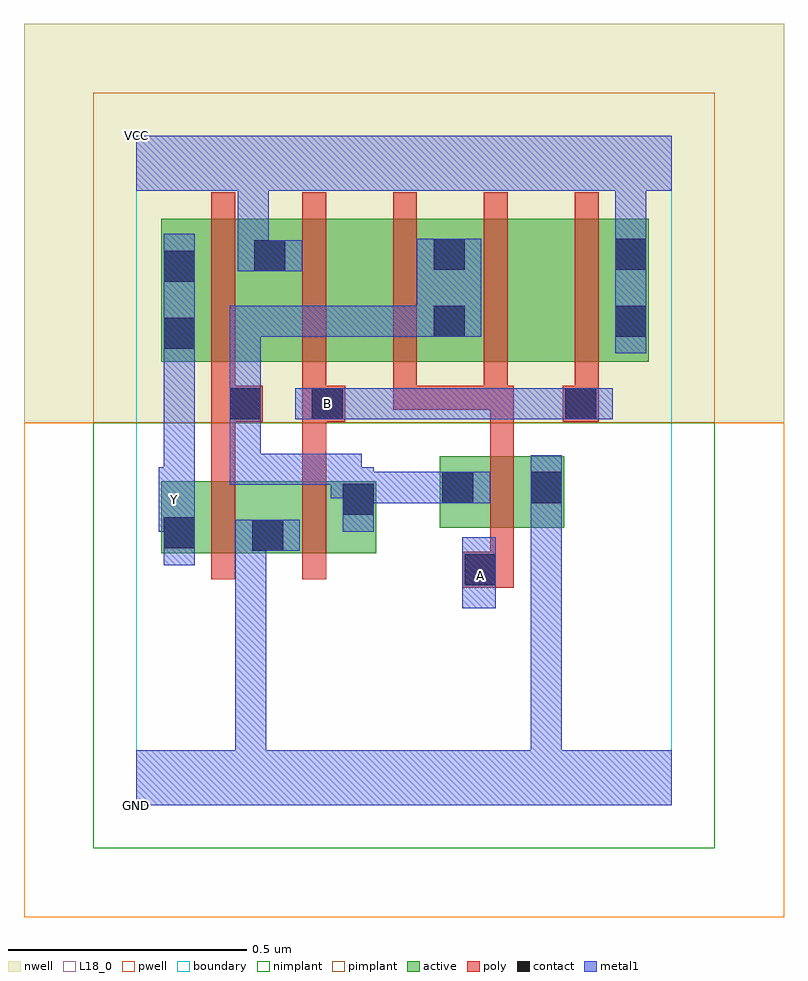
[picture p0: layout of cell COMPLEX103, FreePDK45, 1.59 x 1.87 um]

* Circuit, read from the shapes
.subckt COMPLEX103 A B GND VCC Y
M1 GND n1 Y VSUBS nfet w=0.15u l=0.05u
M2 n1 B GND VSUBS nfet w=0.15u l=0.05u
M3 GND A n1 VSUBS nfet w=0.15u l=0.05u
M4 VCC n1 Y n2 pfet w=0.3u l=0.05u
M5 n3 B VCC n2 pfet w=0.3u l=0.05u
M6 n1 A n3 n2 pfet w=0.3u l=0.05u
M7 n4 A n1 n2 pfet w=0.3u l=0.05u
M8 VCC B n4 n2 pfet w=0.3u l=0.05u
.ends

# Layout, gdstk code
import gdstk
lib = gdstk.Library(unit=1e-6, precision=1e-09)
def R(c, l, rs):  # rectangles x0, y0, x1, y1
    for r in rs: c.add(gdstk.rectangle(r[:2], r[2:], *l))
def A(c, l, x, y, w, h, nx, ny, dx, dy):  # array of equal rectangles
    R(c, l, [(x+i*dx, y+j*dy, x+i*dx+w, y+j*dy+h) for i in range(nx) for j in range(ny)])
active = (1, 0)
pwell = (2, 0)
nwell = (3, 0)
nimplant = (4, 0)
pimplant = (5, 0)
poly = (9, 0)
contact = (10, 0)
metal1 = (11, 0)
L18_0 = (18, 0)
boundary = (235, 0)

complex103 = lib.new_cell('COMPLEX103')
R(complex103, active, [(0.052,0.527,0.127,0.677), (0.052,0.527,0.312,0.677), (0.237,0.527,0.502,0.677), (0.237,0.527,0.312,0.602), (0.427,0.527,0.502,0.677), (0.635,0.58,0.895,0.73), (0.82,0.58,0.895,0.73), (0.635,0.595,0.71,0.73), (0.052,0.927,0.317,1.227), (0.052,0.927,0.127,1.165), (0.242,0.927,0.467,1.227), (0.242,0.927,0.317,1.187), (0.467,0.927,0.692,1.227), (0.617,0.927,0.847,1.227), (0.617,0.927,0.692,1.2), (0.847,0.927,1.072,1.227), (0.997,0.927,1.072,1.19)])
R(complex103, pwell, [(-0.235,-0.235,1.355,0.8)])
R(complex103, nwell, [(-0.235,0.8,1.355,1.635)])
R(complex103, nimplant, [(-0.09,-0.09,1.21,0.8)])
R(complex103, pimplant, [(-0.09,0.8,1.21,1.49)])
A(complex103, poly, 0.157, 0.827, 0.05, 0.095, 5, 1, 0.19, 0)
A(complex103, poly, 0.157, 0.872, 0.05, 0.41, 5, 1, 0.19, 0)
R(complex103, poly, [(0.682,0.455,0.79,0.53), (0.157,0.472,0.207,0.732), (0.347,0.472,0.397,0.732), (0.74,0.48,0.79,0.575), (0.74,0.525,0.79,0.785), (0.157,0.682,0.207,0.852), (0.347,0.682,0.397,0.852), (0.74,0.735,0.79,0.877), (0.157,0.802,0.265,0.877), (0.347,0.802,0.437,0.877), (0.892,0.802,0.967,0.877), (0.537,0.827,0.777,0.877), (0.537,0.827,0.587,0.877), (0.537,0.827,0.587,0.877), (0.537,0.827,0.587,0.877), (0.727,0.827,0.79,0.877)])
R(complex103, contact, [(0.687,0.46,0.752,0.525), (0.242,0.532,0.307,0.597), (0.057,0.537,0.122,0.602), (0.432,0.607,0.497,0.672), (0.64,0.632,0.705,0.697), (0.825,0.632,0.89,0.697), (0.195,0.807,0.26,0.872), (0.367,0.807,0.432,0.872), (0.897,0.807,0.962,0.872), (0.057,0.955,0.122,1.02), (0.622,0.98,0.687,1.045), (1.002,0.98,1.067,1.045), (0.057,1.095,0.122,1.16), (0.247,1.117,0.312,1.182), (0.622,1.12,0.687,1.185), (1.002,1.12,1.067,1.185)])
R(complex103, metal1, [(0,0,1.12,0.115), (0.207,0.05,0.272,0.115), (0.207,0.05,0.272,0.115), (0.207,0.05,0.272,0.597), (0.825,0.05,0.89,0.115), (0.825,0.05,0.89,0.115), (0.825,0.05,0.89,0.115), (0.825,0.05,0.89,0.115), (0.825,0.05,0.89,0.115), (0.825,0.05,0.89,0.115), (0.825,0.05,0.89,0.662), (0.682,0.412,0.752,0.56), (0.057,0.502,0.122,0.637), (0.207,0.532,0.272,0.597), (0.207,0.532,0.272,0.597), (0.207,0.532,0.272,0.597), (0.207,0.532,0.272,0.597), (0.207,0.532,0.272,0.597), (0.207,0.532,0.272,0.597), (0.207,0.532,0.342,0.597), (0.047,0.572,0.122,0.707), (0.057,0.572,0.122,0.637), (0.432,0.572,0.497,0.707), (0.825,0.597,0.89,0.662), (0.825,0.597,0.89,0.662), (0.825,0.597,0.89,0.732), (0.432,0.632,0.61,0.697), (0.545,0.632,0.61,0.697), (0.545,0.632,0.67,0.697), (0.605,0.632,0.74,0.697), (0.057,0.642,0.122,0.985), (0.407,0.642,0.497,0.707), (0.407,0.642,0.472,0.735), (0.195,0.67,0.26,0.735), (0.195,0.67,0.472,0.735), (0.195,0.67,0.26,0.837), (0.195,0.772,0.26,0.837), (0.195,0.772,0.26,0.837), (0.195,0.772,0.26,0.907), (0.195,0.772,0.26,1.045), (0.332,0.807,0.467,0.872), (0.402,0.807,0.467,0.872), (0.402,0.807,0.467,0.872), (0.402,0.807,0.61,0.872), (0.545,0.807,0.61,0.872), (0.545,0.807,0.635,0.872), (0.57,0.807,0.635,0.872), (0.57,0.807,0.79,0.872), (0.725,0.807,0.79,0.872), (0.725,0.807,0.927,0.872), (0.862,0.807,0.927,0.872), (0.862,0.807,0.927,0.872), (0.862,0.807,0.997,0.872), (0.057,0.92,0.122,1.195), (1.002,0.945,1.067,1.22), (0.195,0.98,0.26,1.045), (0.195,0.98,0.472,1.045), (0.407,0.98,0.472,1.045), (0.407,0.98,0.472,1.045), (0.407,0.98,0.472,1.045), (0.407,0.98,0.61,1.045), (0.545,0.98,0.61,1.045), (0.545,0.98,0.652,1.045), (0.587,0.98,0.722,1.185), (0.212,1.117,0.347,1.182), (0.212,1.117,0.277,1.35), (1.002,1.155,1.067,1.35), (0,1.285,1.12,1.4), (0.212,1.285,0.277,1.35), (0.212,1.285,0.277,1.35), (1.002,1.285,1.067,1.35), (1.002,1.285,1.067,1.35)])
R(complex103, L18_0, [(0,0,1.12,0.115), (0.207,0.05,0.272,0.115), (0.207,0.05,0.272,0.115), (0.207,0.05,0.272,0.597), (0.825,0.05,0.89,0.115), (0.825,0.05,0.89,0.115), (0.825,0.05,0.89,0.115), (0.825,0.05,0.89,0.115), (0.825,0.05,0.89,0.115), (0.825,0.05,0.89,0.115), (0.825,0.05,0.89,0.662), (0.682,0.412,0.752,0.56), (0.687,0.447,0.752,0.512), (0.057,0.502,0.122,0.637), (0.207,0.532,0.272,0.597), (0.207,0.532,0.272,0.597), (0.207,0.532,0.272,0.597), (0.207,0.532,0.272,0.597), (0.207,0.532,0.272,0.597), (0.207,0.532,0.272,0.597), (0.207,0.532,0.342,0.597), (0.047,0.572,0.122,0.707), (0.057,0.572,0.122,0.637), (0.825,0.597,0.89,0.732), (0.825,0.597,0.89,0.662), (0.825,0.597,0.89,0.662), (0.047,0.607,0.112,0.672), (0.057,0.642,0.122,0.985), (0.332,0.807,0.467,0.872), (0.367,0.807,0.432,0.872), (0.402,0.807,0.467,0.872), (0.402,0.807,0.467,0.872), (0.402,0.807,0.61,0.872), (0.545,0.807,0.61,0.872), (0.545,0.807,0.635,0.872), (0.57,0.807,0.635,0.872), (0.57,0.807,0.79,0.872), (0.725,0.807,0.79,0.872), (0.725,0.807,0.927,0.872), (0.862,0.807,0.927,0.872), (0.862,0.807,0.927,0.872), (0.862,0.807,0.997,0.872), (0.057,0.92,0.122,1.195), (1.002,0.945,1.067,1.22), (0.212,1.117,0.347,1.182), (0.212,1.117,0.277,1.35), (1.002,1.155,1.067,1.35), (0,1.285,1.12,1.4), (0.212,1.285,0.277,1.35), (0.212,1.285,0.277,1.35), (1.002,1.285,1.067,1.35), (1.002,1.285,1.067,1.35)])
R(complex103, boundary, [(0,0,1.12,1.4)])
complex103.add(gdstk.Label('A', (0.72,0.48), layer=11, texttype=0))
complex103.add(gdstk.Label('B', (0.4,0.84), layer=11, texttype=0))
complex103.add(gdstk.Label('Y', (0.08,0.64), layer=11, texttype=0))
complex103.add(gdstk.Label('VCC', (0,1.4), layer=11, texttype=0))
complex103.add(gdstk.Label('GND', (0,0), layer=11, texttype=0))

lib.write_gds('COMPLEX103.gds')
